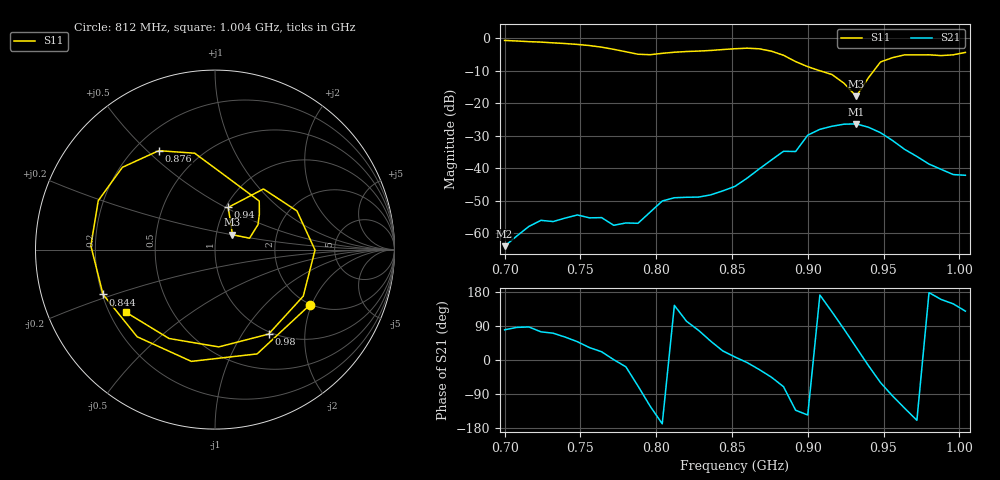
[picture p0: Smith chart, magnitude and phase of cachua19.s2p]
# Hz S RI R 50
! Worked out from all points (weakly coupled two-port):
!   39 points, 700 MHz to 1.004 GHz, reference 50 ohm
!   highest |S21| = -26.36 dB at 932 MHz (marker M1); lowest = -64.0 dB at 700 MHz (marker M2)
!   lowest |S11| = -17.9 dB at 932 MHz (marker M3), VSWR 1.29, Z = 59.8 + j10.1 ohm
!   |S11| at or under -10 dB: 908.1 MHz to 943.5 MHz (35.46 MHz wide, 3.83 % of centre)
!   S12 and S22 are empty: the file has one direction only
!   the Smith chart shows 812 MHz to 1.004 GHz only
!   S11 on the Smith chart (normalised r, x): 812 MHz: 1.96, -1.94; 844 MHz: 0.20, -0.18; 876 MHz: 0.29, +0.54; 940 MHz: 1.03, +0.51; 980 MHz: 0.97, -1.32; 1.004 GHz: 0.27, -0.29
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7e8  0.7619 0.5296  0.000112 0.000618  0 0  0 0
7.24e8  0.8358 -0.2607  0.000424 0.00151  0 0  0 0
7.4e8  0.4423 -0.7045  0.000841 0.00148  0 0  0 0
7.56e8  -0.1982 -0.7483  0.00144 0.000928  0 0  0 0
7.72e8  -0.6525 -0.182  0.00132 1.96e-05  0 0  0 0
7.8e8  -0.5748 0.2367  0.00136 -0.000441  0 0  0 0
7.88e8  -0.2138 0.5275  0.000515 -0.00132  0 0  0 0
7.96e8  0.2663 0.4923  -0.00111 -0.00178  0 0  0 0
8.04e8  0.5726 0.1324  -0.00305 -0.000628  0 0  0 0
8.12e8  0.5266 -0.3101  -0.00284 0.00205  0 0  0 0
8.28e8  -0.1317 -0.6226  0.000735 0.00351  0 0  0 0
8.44e8  -0.624 -0.2496  0.00409 0.00181  0 0  0 0
8.52e8  -0.6916 0.0213  0.0052 0.000719  0 0  0 0
8.76e8  -0.3133 0.5513  0.00939 -0.00947  0 0  0 0
9e8  0.2464 0.2707  -0.0265 -0.0184  0 0  0 0
9.08e8  0.2473 0.1978  -0.0392 0.00591  0 0  0 0
9.32e8  0.0973 0.0828  0.0403 0.0263  0 0  0 0
9.4e8  0.0736 0.2352  0.0414 -0.0108  0 0  0 0
9.56e8  0.4566 0.2154  -0.00236 -0.0265  0 0  0 0
9.64e8  0.5573 -0.00231  -0.0118 -0.0154  0 0  0 0
9.8e8  0.2987 -0.4707  -0.0116 0.000446  0 0  0 0
1.004e9  -0.4972 -0.3485  -0.00488 0.00604  0 0  0 0
